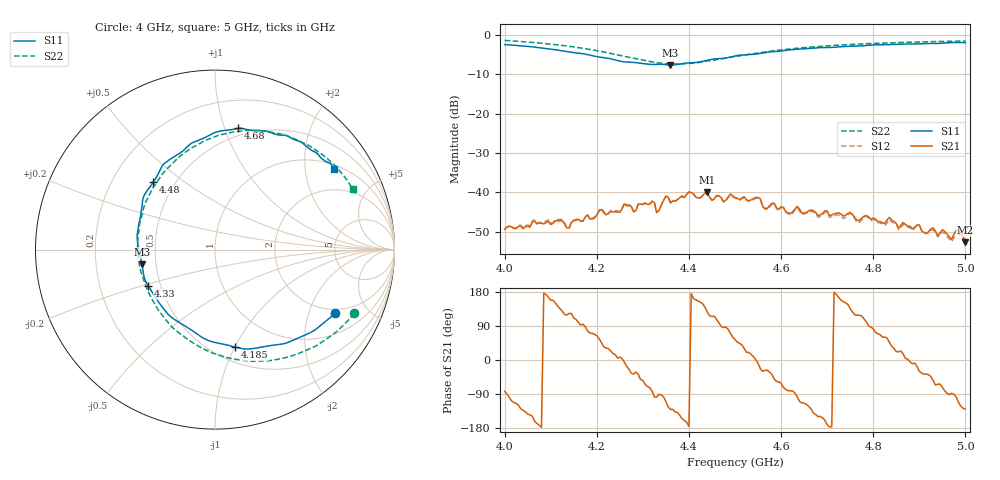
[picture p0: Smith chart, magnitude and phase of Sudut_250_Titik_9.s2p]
# Hz S RI R 50
! CMT, C1220, 16058040, 17.2.0/1
! Date: 15/08/2018 11:35:24
! Data: Format (Calibration Info)
! Freq  S11: Re/Im (F2)  S21: Re/Im (F2)  S12: Re/Im (F2)  S22: Re/Im (F2)
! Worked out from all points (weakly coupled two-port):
!   201 points, 4 GHz to 5 GHz, reference 50 ohm
!   highest |S21| = -39.89 dB at 4.44 GHz (marker M1); lowest = -52.7 dB at 5 GHz (marker M2)
!   lowest |S11| = -7.6 dB at 4.36 GHz (marker M3), VSWR 2.42, Z = 20.8 - j4.09 ohm
!   |S11| at or under -10 dB: nowhere
!   |S22| runs from -7.4 to -1.4 dB; largest |S21 - S12| = 0.00042
!   S11 on the Smith chart (normalised r, x): 4 GHz: 1.81, -3.00; 4.185 GHz: 0.64, -1.00; 4.33 GHz: 0.43, -0.21; 4.48 GHz: 0.38, +0.39; 4.68 GHz: 0.43, +1.11; 5 GHz: 1.14, +2.84
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4e9  0.6677 -0.355  0.000436 -0.00334  0.000525 -0.00347  0.7753 -0.3539
4.17e9  0.1664 -0.5538  -0.000324 0.00428  -0.00037 0.00431  0.2747 -0.6199
4.185e9  0.1132 -0.5435  0.0015 0.00433  0.00141 0.00446  0.2106 -0.6221
4.26e9  -0.1729 -0.4217  0.0071 -0.000761  0.00727 -0.000839  -0.1173 -0.5232
4.28e9  -0.2473 -0.3736  0.00448 -0.00342  0.00454 -0.00356  -0.1979 -0.4653
4.32e9  -0.351 -0.2355  0.00105 -0.00756  0.000954 -0.00772  -0.3316 -0.3112
4.33e9  -0.3729 -0.2015  -0.000783 -0.00547  -0.000897 -0.0055  -0.355 -0.2688
4.335e9  -0.3833 -0.1837  -2.9e-05 -0.00587  -9.26e-05 -0.00589  -0.3671 -0.2456
4.35e9  -0.4004 -0.1237  -0.00301 -0.0084  -0.00303 -0.00834  -0.3958 -0.1719
4.36e9  -0.4069 -0.0811  -0.00474 -0.00558  -0.00481 -0.00561  -0.4124 -0.1254
4.44e9  -0.4055 0.2511  -0.00594 0.00821  -0.00574 0.00821  -0.3874 0.2609
4.48e9  -0.3432 0.3773  0.000376 0.00793  0.000706 0.00779  -0.3006 0.4104
4.5e9  -0.3044 0.4465  0.00503 0.00697  0.00502 0.00675  -0.246 0.4711
4.62e9  -0.0083 0.6487  0.000816 -0.00531  0.000661 -0.00513  0.1103 0.6564
4.67e9  0.1114 0.6717  -0.00448 -0.00378  -0.00436 -0.00357  0.2476 0.6633
4.68e9  0.1307 0.6762  -0.00432 -0.00256  -0.00417 -0.00239  0.2721 0.6601
4.835e9  0.4437 0.6117  0.00329 0.0035  0.003 0.0033  0.5819 0.5403
4.855e9  0.4761 0.6008  0.00324 0.00129  0.00311 0.00127  0.612 0.518
4.9e9  0.5424 0.551  0.00335 -0.00191  0.0034 -0.00171  0.6695 0.4657
4.97e9  0.6396 0.4817  8.16e-05 -0.00252  2.7e-05 -0.00236  0.7424 0.3784
4.985e9  0.649 0.4721  -0.00122 -0.00303  -0.00109 -0.00277  0.7543 0.3571
5e9  0.6617 0.4486  -0.00148 -0.00177  -0.00126 -0.00164  0.768 0.3374
